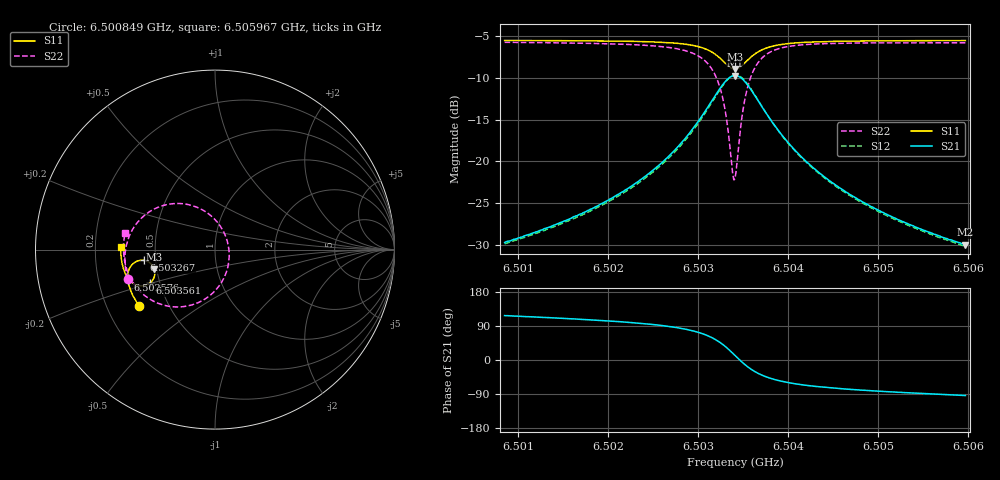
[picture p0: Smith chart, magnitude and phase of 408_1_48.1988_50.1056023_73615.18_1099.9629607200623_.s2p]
#  HZ  S  RI  R  50.00
! Rohde & Schwarz Vector Network Analyzer
! Rohde-Schwarz,ZNB20-2Port,1311601062101988,3.16
! Created: UTC 3/20/2024, 11:54:18 AM
! freq[Hz]  re:S11  im:S11  re:S21  im:S21  re:S12  im:S12  re:S22  im:S22
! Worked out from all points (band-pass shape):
!   401 points, 6.500849 GHz to 6.505967 GHz, reference 50 ohm
!   highest |S21| = -9.75 dB at 6.503408 GHz (marker M1); lowest = -29.9 dB at 6.505967 GHz (marker M2)
!   |S21| within 3 dB of the highest: 6.503152 GHz to 6.503664 GHz (511.7 kHz wide, 0.00787 % of centre)
!   lowest |S11| = -9.0 dB at 6.503408 GHz (marker M3), VSWR 2.10, Z = 24.2 - j6.04 ohm
!   |S11| at or under -10 dB: nowhere
!   |S22| runs from -22.2 to -5.8 dB; largest |S21 - S12| = 0.011
!   S11 on the Smith chart (normalised r, x): 6.500849 GHz: 0.34, -0.30; 6.502576 GHz: 0.33, -0.15; 6.503267 GHz: 0.43, -0.06; 6.503561 GHz: 0.44, -0.20; 6.505967 GHz: 0.31, +0.01
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6.500849e9  -0.4216 -0.3155  -0.015 0.0292  -0.0133 0.0294  -0.4866 -0.1637
6.5017062e9  -0.4591 -0.2529  -0.0145 0.0466  -0.0122 0.0463  -0.5013 -0.0743
6.5021924e9  -0.4766 -0.2104  -0.0117 0.0668  -0.00862 0.0656  -0.499 -0.00623
6.5025634e9  -0.4856 -0.1697  -0.00295 0.0949  0.000603 0.0927  -0.4811 0.0667
6.5025762e9  -0.4858 -0.1682  -0.00252 0.0962  0.00113 0.094  -0.4797 0.0698
6.5028193e9  -0.4852 -0.133  0.0157 0.1294  0.0195 0.1256  -0.4415 0.1392
6.5029984e9  -0.4737 -0.0998  0.0504 0.1655  0.0533 0.1599  -0.3736 0.2052
6.5031647e9  -0.4392 -0.0668  0.1273 0.1987  0.1285 0.1923  -0.2322 0.256
6.5032671e9  -0.3967 -0.0599  0.2121 0.19  0.2124 0.1849  -0.0845 0.229
6.5033183e9  -0.3713 -0.0683  0.2603 0.1625  0.261 0.158  -0.00475 0.1722
6.5033822e9  -0.3447 -0.0944  0.3079 0.0996  0.3104 0.0948  0.0671 0.0514
6.5034078e9  -0.3383 -0.1089  0.3182 0.0679  0.3212 0.0621  0.0783 -0.00787
6.5034334e9  -0.3352 -0.1244  0.3219 0.0347  0.3253 0.0278  0.0766 -0.0684
6.5034974e9  -0.3421 -0.1611  0.3045 -0.0426  0.3066 -0.0523  0.0228 -0.2023
6.5035614e9  -0.363 -0.1868  0.2623 -0.0965  0.2612 -0.1075  -0.0722 -0.2849
6.5036637e9  -0.4021 -0.202  0.1885 -0.1327  0.1834 -0.142  -0.2205 -0.3194
6.50383e9  -0.448 -0.1925  0.1078 -0.1301  0.1009 -0.135  -0.3664 -0.2739
6.5040091e9  -0.4751 -0.1712  0.0637 -0.1104  0.0575 -0.1127  -0.438 -0.2097
6.504265e9  -0.4959 -0.1412  0.0337 -0.0865  0.0292 -0.087  -0.481 -0.1383
6.5046488e9  -0.5116 -0.1016  0.0149 -0.0636  0.0117 -0.0633  -0.5036 -0.0638
6.5051222e9  -0.521 -0.058  0.00508 -0.0473  0.00279 -0.0467  -0.5098 0.00192
6.5059666e9  -0.5259 0.0131  -0.00211 -0.0318  -0.00332 -0.0311  -0.5018 0.0902
